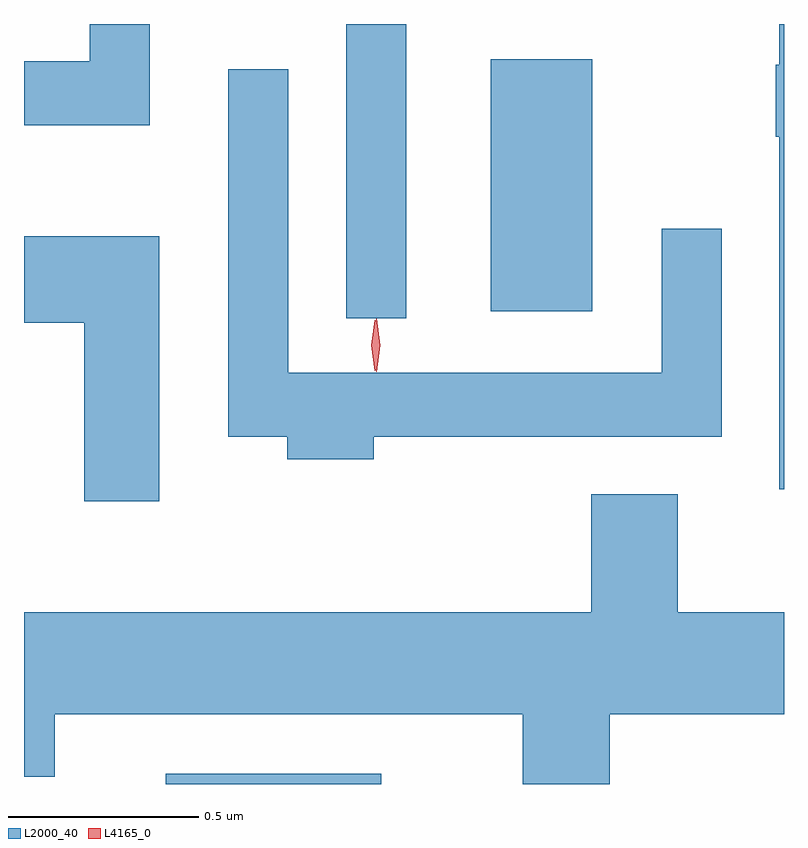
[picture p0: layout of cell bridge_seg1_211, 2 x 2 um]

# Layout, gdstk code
import gdstk
lib = gdstk.Library(unit=1e-6, precision=1e-09)
def R(c, l, rs):  # rectangles x0, y0, x1, y1
    for r in rs: c.add(gdstk.rectangle(r[:2], r[2:], *l))
def P(c, l, *ps):  # polygons
    for p in ps: c.add(gdstk.Polygon(p, *l))
L2000_40 = (2000, 40)
L4165_0 = (4165, 0)

bridge_seg1_211 = lib.new_cell('bridge_seg1_211')
R(bridge_seg1_211, L2000_40, [(776.801,957.112,777.368,957.139), (777.276,958.338,777.434,959.112), (777.656,958.356,777.924,959.019)])
P(bridge_seg1_211, L2000_40, [(778.428,959.112),(778.416,959.112),(778.416,959.005),(778.406,959.005),(778.406,958.815),(778.416,958.815),(778.416,957.888),(778.428,957.888)],
  [(776.759,959.112),(776.601,959.112),(776.601,959.014),(776.428,959.014),(776.428,958.846),(776.759,958.846)],
  [(777.349,958.026),(778.264,958.026),(778.264,958.573),(778.106,958.573),(778.106,958.194),(777.124,958.194),(777.124,958.993),(776.966,958.993),(776.966,958.026),(777.121,958.026),(777.121,957.966),(777.349,957.966)],
  [(776.784,958.554),(776.428,958.554),(776.428,958.326),(776.586,958.326),(776.586,957.856),(776.784,957.856)],
  [(777.969,957.296),(778.428,957.296),(778.428,957.564),(778.149,957.564),(778.149,957.874),(777.921,957.874),(777.921,957.564),(776.428,957.564),(776.428,957.131),(776.509,957.131),(776.509,957.296),(777.741,957.296),(777.741,957.112),(777.969,957.112)])
P(bridge_seg1_211, L4165_0, [(777.351,958.2),(777.342,958.266),(777.351,958.333),(777.352,958.333),(777.352,958.333),(777.362,958.266),(777.352,958.2),(777.352,958.2)],
  [(777.355,958.197),(777.346,958.267),(777.355,958.336),(777.356,958.336),(777.356,958.336),(777.366,958.267),(777.356,958.197),(777.356,958.197)])

lib.write_gds('bridge_seg1_211.gds')
